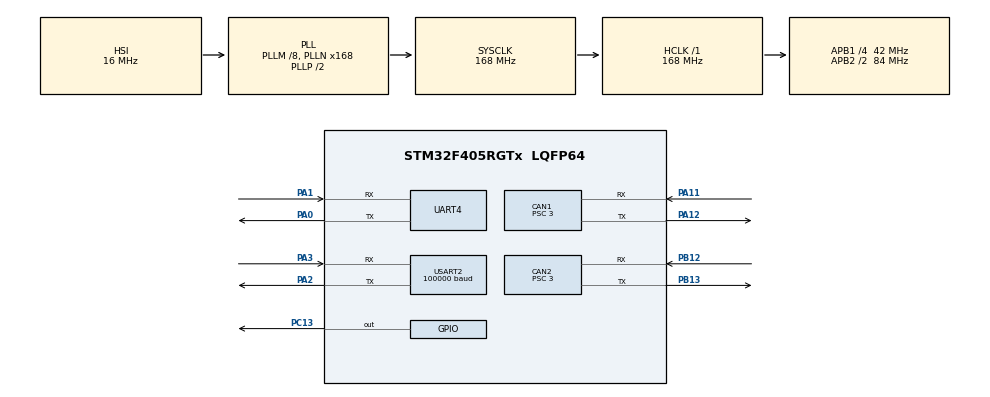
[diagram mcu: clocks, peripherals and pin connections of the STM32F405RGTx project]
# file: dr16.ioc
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CAN1.ABOM=ENABLE
CAN1.BS1=CAN_BS1_9TQ
CAN1.BS2=CAN_BS2_4TQ
CAN1.CalculateBaudRate=1000000
CAN1.CalculateTimeBit=1000
CAN1.CalculateTimeQuantum=71.42857142857143
CAN1.NART=ENABLE
CAN1.Prescaler=3
CAN2.BS1=CAN_BS1_9TQ
CAN2.BS2=CAN_BS2_4TQ
CAN2.CalculateBaudRate=1000000
CAN2.CalculateTimeBit=1000
CAN2.CalculateTimeQuantum=71.42857142857143
CAN2.Prescaler=3
Dma.Request0=USART2_RX
Dma.USART2_RX.0.Direction=DMA_PERIPH_TO_MEMORY
Dma.USART2_RX.0.FIFOMode=DMA_FIFOMODE_DISABLE
Dma.USART2_RX.0.Instance=DMA1_Stream5
Dma.USART2_RX.0.MemDataAlignment=DMA_MDATAALIGN_BYTE
Dma.USART2_RX.0.MemInc=DMA_MINC_ENABLE
Dma.USART2_RX.0.Mode=DMA_CIRCULAR
Dma.USART2_RX.0.PeriphDataAlignment=DMA_PDATAALIGN_BYTE
Dma.USART2_RX.0.PeriphInc=DMA_PINC_DISABLE
Dma.USART2_RX.0.Priority=DMA_PRIORITY_VERY_HIGH
FREERTOS.Tasks01=motorTask,24,128,MotorTask,Default,NULL,Dynamic,NULL,NULL;rcTask,24,128,RCTask,Default,NULL,Dynamic,NULL,NULL
Mcu.Family=STM32F4
Mcu.Name=STM32F405RGTx
Mcu.Package=LQFP64
NVIC.CAN1_RX0_IRQn=true\:5\:0\:false\:false\:true\:true\:true\:true\:true
NVIC.CAN1_RX1_IRQn=true\:5\:0\:false\:false\:true\:true\:true\:true\:true
NVIC.CAN2_RX0_IRQn=true\:5\:0\:false\:false\:true\:true\:true\:true\:true
NVIC.CAN2_RX1_IRQn=true\:5\:0\:false\:false\:true\:true\:true\:true\:true
NVIC.DMA1_Stream5_IRQn=true\:5\:0\:false\:false\:true\:true\:false\:true\:true
NVIC.PriorityGroup=NVIC_PRIORITYGROUP_4
NVIC.TIM7_IRQn=true\:15\:0\:false\:false\:true\:false\:false\:true\:true
NVIC.TimeBase=TIM7_IRQn
NVIC.TimeBaseIP=TIM7
NVIC.USART2_IRQn=true\:5\:0\:false\:false\:true\:true\:true\:true\:true
PA0-WKUP.Mode=Asynchronous
PA0-WKUP.Signal=UART4_TX
PA1.Mode=Asynchronous
PA1.Signal=UART4_RX
PA11.Mode=CAN_Activate
PA11.Signal=CAN1_RX
PA12.Mode=CAN_Activate
PA12.Signal=CAN1_TX
PA13.Mode=Serial_Wire
PA13.Signal=SYS_JTMS-SWDIO
PA14.Mode=Serial_Wire
PA14.Signal=SYS_JTCK-SWCLK
PA2.Mode=Asynchronous
PA2.Signal=USART2_TX
PA3.Mode=Asynchronous
PA3.Signal=USART2_RX
PB12.Mode=CAN_Activate
PB12.Signal=CAN2_RX
PB13.Mode=CAN_Activate
PB13.Signal=CAN2_TX
PC13-ANTI_TAMP.GPIO_PuPd=GPIO_PULLUP
PC13-ANTI_TAMP.PinState=GPIO_PIN_RESET
PC13-ANTI_TAMP.Signal=GPIO_Output
PH0-OSC_IN.Mode=HSE-External-Oscillator
PH0-OSC_IN.Signal=RCC_OSC_IN
PH1-OSC_OUT.Mode=HSE-External-Oscillator
PH1-OSC_OUT.Signal=RCC_OSC_OUT
ProjectManager.HeapSize=0x200
ProjectManager.StackSize=0x400
ProjectManager.TargetToolchain=MDK-ARM V5.32
RCC.48MHZClocksFreq_Value=84000000
RCC.AHBFreq_Value=168000000
RCC.APB1CLKDivider=RCC_HCLK_DIV4
RCC.APB1Freq_Value=42000000
RCC.APB1TimFreq_Value=84000000
RCC.APB2CLKDivider=RCC_HCLK_DIV2
RCC.APB2Freq_Value=84000000
RCC.APB2TimFreq_Value=168000000
RCC.CortexFreq_Value=168000000
RCC.HCLKFreq_Value=168000000
RCC.HSE_VALUE=25000000
RCC.HSI_VALUE=16000000
RCC.LSE_VALUE=32768
RCC.PLLM=8
RCC.PLLN=168
RCC.SYSCLKFreq_VALUE=168000000
RCC.SYSCLKSource=RCC_SYSCLKSOURCE_PLLCLK
RCC.VCOOutputFreq_Value=336000000
UART4.VirtualMode=Asynchronous
USART2.BaudRate=100000
USART2.Parity=PARITY_EVEN
USART2.VirtualMode=VM_ASYNC
VP_FREERTOS_VS_CMSIS_V2.Mode=CMSIS_V2
VP_SYS_VS_tim7.Mode=TIM7
board=custom

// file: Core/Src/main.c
/* USER CODE BEGIN Header */
/**
 ******************************************************************************
 * @file           : main.c
 * @brief          : Main program body
 ******************************************************************************
 * @attention
 *
 * Copyright (c) 2024 STMicroelectronics.
 * All rights reserved.
 *
 * This software is licensed under terms that can be found in the LICENSE file
 * in the root directory of this software component.
 * If no LICENSE file comes with this software, it is provided AS-IS.
 *
 ******************************************************************************
 */
/* USER CODE END Header */
#include "main.h"
#include "cmsis_os.h"
#include "can.h"
#include "dma.h"
#include "usart.h"
#include "gpio.h"

/* USER CODE BEGIN Includes */
#include <stdio.h>
#include <stdarg.h>
#include "string.h"
/* USER CODE END Includes */

/* USER CODE BEGIN PV */
char str[100];
/* USER CODE END PV */

void SystemClock_Config(void);
void MX_FREERTOS_Init(void);

/* USER CODE BEGIN 0 */
const RC_ctrl_t *local_rc_ctrl;
/**
 * @brief CAN报文回调函数
 *
 * @param Rx_Buffer CAN接收的信息结构体
 */
void CAN_Motor_Call_Back(CAN_RxBuffer *Rx_Buffer)
{
  uint8_t *Rx_Data = Rx_Buffer->data;
  switch (Rx_Buffer->header.StdId)
  {
  case (0x209):
  {
    Tx_Data[0] = (Rx_Data[0] << 8) | Rx_Data[1];
    Tx_Data[1] = (Rx_Data[2] << 8) | Rx_Data[3];
    Tx_Data[2] = (Rx_Data[4] << 8) | Rx_Data[5];
    Tx_Data[3] = Rx_Data[6];
  }
  break;
  }
}
/* USER CODE END 0 */

int main(void)
{

  /* MCU Configuration--------------------------------------------------------*/

  /* Reset of all peripherals, Initializes the Flash interface and the Systick. */
  HAL_Init();

  /* Configure the system clock */
  SystemClock_Config();

  /* Initialize all configured peripherals */
  MX_GPIO_Init();
  MX_DMA_Init();
  MX_USART2_UART_Init();
  MX_CAN1_Init();
  MX_CAN2_Init();
  MX_UART4_Init();
  /* USER CODE BEGIN 2 */
  CAN_Init(&hcan2, CAN_Motor_Call_Back);
  remote_control_init();
  Uart_Init(&huart4, NULL, 0, NULL);
  local_rc_ctrl = get_remote_control_point();
  CAN_Filter_Mask_Config(&hcan2, CanFilter(24) | CanFifo_1 | Can_STDID | Can_DataType, 0x209, 0x3FF);
  /* USER CODE END 2 */

  /* Init scheduler */
  osKernelInitialize();  /* Call init function for freertos objects (in freertos.c) */
  MX_FREERTOS_Init();

  /* Start scheduler */
  osKernelStart();
  /* We should never get here as control is now taken by the scheduler */
  /* Infinite loop */
  while (1)
  {

    /* USER CODE BEGIN 3 */
    sprintf(str, "**********\r\n ch0:%d\r\n ch1:%d\r\n ch2:%d\r\n ch3:%d\r\n ch4:%d\r\n s1:%d\r\n s2:%d\r\n **********\r\n", local_rc_ctrl->rc.ch[0], local_rc_ctrl->rc.ch[1], local_rc_ctrl->rc.ch[2], local_rc_ctrl->rc.ch[3], local_rc_ctrl->rc.ch[4], local_rc_ctrl->rc.s[0], local_rc_ctrl->rc.s[1]);
    HAL_UART_Transmit(&huart4, (uint8_t *)str, strlen(str), HAL_MAX_DELAY);
    HAL_Delay(1000);
  }
  /* USER CODE END 3 */
}

void SystemClock_Config(void)
{
  RCC_OscInitTypeDef RCC_OscInitStruct = {0};
  RCC_ClkInitTypeDef RCC_ClkInitStruct = {0};

  /** Configure the main internal regulator output voltage
  */
  __HAL_RCC_PWR_CLK_ENABLE();
  __HAL_PWR_VOLTAGESCALING_CONFIG(PWR_REGULATOR_VOLTAGE_SCALE1);

  /** Initializes the RCC Oscillators according to the specified parameters
  * in the RCC_OscInitTypeDef structure.
  */
  RCC_OscInitStruct.OscillatorType = RCC_OSCILLATORTYPE_HSI;
  RCC_OscInitStruct.HSIState = RCC_HSI_ON;
  RCC_OscInitStruct.HSICalibrationValue = RCC_HSICALIBRATION_DEFAULT;
  RCC_OscInitStruct.PLL.PLLState = RCC_PLL_ON;
  RCC_OscInitStruct.PLL.PLLSource = RCC_PLLSOURCE_HSI;
  RCC_OscInitStruct.PLL.PLLM = 8;
  RCC_OscInitStruct.PLL.PLLN = 168;
  RCC_OscInitStruct.PLL.PLLP = RCC_PLLP_DIV2;
  RCC_OscInitStruct.PLL.PLLQ = 4;
  if (HAL_RCC_OscConfig(&RCC_OscInitStruct) != HAL_OK)
  {
    Error_Handler();
  }

  /** Initializes the CPU, AHB and APB buses clocks
  */
  RCC_ClkInitStruct.ClockType = RCC_CLOCKTYPE_HCLK|RCC_CLOCKTYPE_SYSCLK
                              |RCC_CLOCKTYPE_PCLK1|RCC_CLOCKTYPE_PCLK2;
  RCC_ClkInitStruct.SYSCLKSource = RCC_SYSCLKSOURCE_PLLCLK;
  RCC_ClkInitStruct.AHBCLKDivider = RCC_SYSCLK_DIV1;
  RCC_ClkInitStruct.APB1CLKDivider = RCC_HCLK_DIV4;
  RCC_ClkInitStruct.APB2CLKDivider = RCC_HCLK_DIV2;

  if (HAL_RCC_ClockConfig(&RCC_ClkInitStruct, FLASH_LATENCY_5) != HAL_OK)
  {
    Error_Handler();
  }
}

void HAL_TIM_PeriodElapsedCallback(TIM_HandleTypeDef *htim)
{
  if (htim->Instance == TIM7) {
    HAL_IncTick();
  }
}

void Error_Handler(void)
{
  __disable_irq();
  while (1)
  {
  }
}

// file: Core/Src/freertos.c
/* USER CODE BEGIN Header */
/**
 ******************************************************************************
 * File Name          : freertos.c
 * Description        : Code for freertos applications
 ******************************************************************************
 * @attention
 *
 * Copyright (c) 2024 STMicroelectronics.
 * All rights reserved.
 *
 * This software is licensed under terms that can be found in the LICENSE file
 * in the root directory of this software component.
 * If no LICENSE file comes with this software, it is provided AS-IS.
 *
 ******************************************************************************
 */
/* USER CODE END Header */

#include "FreeRTOS.h"
#include "task.h"
#include "main.h"
#include "cmsis_os.h"

/* USER CODE BEGIN Includes */
#include "usart.h"
/* USER CODE END Includes */

/* USER CODE BEGIN Variables */
int16_t Torque = 0;
uint8_t motor_flag;
float Target;
float Current;
extern int rc_flag;
extern int last_rc_flag;
extern const RC_ctrl_t *local_rc_ctrl;
/* USER CODE END Variables */
/* Definitions for motorTask */
osThreadId_t motorTaskHandle;
const osThreadAttr_t motorTask_attributes = {
    .name = "motorTask",
    .stack_size = 128 * 4,
    .priority = (osPriority_t)osPriorityNormal,
};
/* Definitions for rcTask */
osThreadId_t rcTaskHandle;
const osThreadAttr_t rcTask_attributes = {
    .name = "rcTask",
    .stack_size = 128 * 4,
    .priority = (osPriority_t)osPriorityNormal,
};

void MotorTask(void *argument);
void RCTask(void *argument);

void MX_FREERTOS_Init(void); /* (MISRA C 2004 rule 8.1) */

void MX_FREERTOS_Init(void)
{

    /* Create the thread(s) */
    /* creation of motorTask */
    motorTaskHandle = osThreadNew(MotorTask, NULL, &motorTask_attributes);

    /* creation of rcTask */
    rcTaskHandle = osThreadNew(RCTask, NULL, &rcTask_attributes);

}

void MotorTask(void *argument)
{
    /* USER CODE BEGIN MotorTask */
    PID_Controller PID_Speed = {10, 0, 0};
    PID_Speed.i_out = 0;
    PID_Speed.i_max = 15000;
    /* Infinite loop */
    for (;;)
    {
        if (motor_flag == 1)
        {
            Target = -(local_rc_ctrl->rc.ch[0] / 2);
            Current = Tx_Data[1];
            Torque = PID_Calc(&PID_Speed, Current, Target);
        }
        else
        {
            Torque = 0;
        }

        CAN2_0x2ff_Tx_Data[0] = Torque >> 8;
        CAN2_0x2ff_Tx_Data[1] = Torque;
        CANx_SendData(&hcan2, 0x2ff, CAN2_0x2ff_Tx_Data, 8);
        HAL_UART_Transmit(&huart4, (uint8_t *)&Current, sizeof(float), HAL_MAX_DELAY);
        HAL_UART_Transmit(&huart4, (uint8_t *)&Target, sizeof(float), HAL_MAX_DELAY);
        HAL_UART_Transmit(&huart4, tail, 4, 100);
        osDelay(5);
    }
    /* USER CODE END MotorTask */
}

void RCTask(void *argument)
{
    /* USER CODE BEGIN RCTask */
    /* Infinite loop */
    for (;;)
    {
        if (last_rc_flag == rc_flag)
        {
            motor_flag = 0;
        }
        else
        {
            motor_flag = 1;
        }
        last_rc_flag = rc_flag;
        osDelay(100);
    }
    /* USER CODE END RCTask */
}
